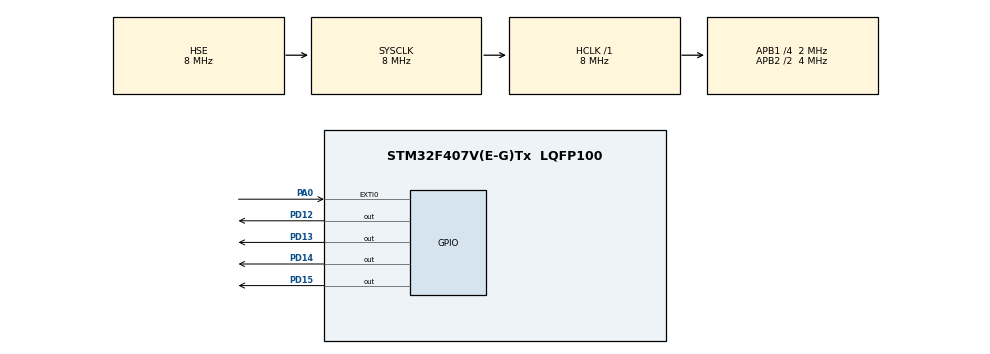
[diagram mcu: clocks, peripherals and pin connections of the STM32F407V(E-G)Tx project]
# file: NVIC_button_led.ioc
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Mcu.Family=STM32F4
Mcu.Name=STM32F407V(E-G)Tx
Mcu.Package=LQFP100
NVIC.EXTI0_IRQn=true\:0\:0\:false\:false\:true\:true\:true\:true
NVIC.PriorityGroup=NVIC_PRIORITYGROUP_0
PA0-WKUP.GPIO_ModeDefaultEXTI=GPIO_MODE_IT_FALLING
PA0-WKUP.Signal=GPXTI0
PD12.Signal=GPIO_Output
PD13.Signal=GPIO_Output
PD14.Signal=GPIO_Output
PD15.Signal=GPIO_Output
PH0-OSC_IN.Mode=HSE-External-Clock-Source
PH0-OSC_IN.Signal=RCC_OSC_IN
PH1-OSC_OUT.Mode=HSE-External-Clock-Source
PH1-OSC_OUT.Signal=RCC_OSC_OUT
ProjectManager.HeapSize=0x200
ProjectManager.StackSize=0x400
ProjectManager.TargetToolchain=STM32CubeIDE
RCC.48MHZClocksFreq_Value=7142857.142857143
RCC.AHBFreq_Value=8000000
RCC.APB1CLKDivider=RCC_HCLK_DIV4
RCC.APB1Freq_Value=2000000
RCC.APB1TimFreq_Value=4000000
RCC.APB2CLKDivider=RCC_HCLK_DIV2
RCC.APB2Freq_Value=4000000
RCC.APB2TimFreq_Value=8000000
RCC.CortexFreq_Value=8000000
RCC.HCLKFreq_Value=8000000
RCC.HSE_VALUE=8000000
RCC.HSI_VALUE=16000000
RCC.LSE_VALUE=32768
RCC.PLLM=8
RCC.PLLN=50
RCC.PLLP=RCC_PLLP_DIV4
RCC.PLLQ=7
RCC.PLLSourceVirtual=RCC_PLLSOURCE_HSE
RCC.SYSCLKFreq_VALUE=8000000
RCC.SYSCLKSource=RCC_SYSCLKSOURCE_HSE
RCC.VCOOutputFreq_Value=50000000
board=STM32F407G-DISC1

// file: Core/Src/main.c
/* USER CODE BEGIN Header */
/**
  ******************************************************************************
  * @file           : main.c
  * @brief          : Main program body
  ******************************************************************************
  * @attention
  *
  * Copyright (c) 2023 STMicroelectronics.
  * All rights reserved.
  *
  * This software is licensed under terms that can be found in the LICENSE file
  * in the root directory of this software component.
  * If no LICENSE file comes with this software, it is provided AS-IS.
  *
  ******************************************************************************
  */
/* USER CODE END Header */
#include "main.h"

/* USER CODE BEGIN PV */
uint8_t mode=0;
/* USER CODE END PV */

void SystemClock_Config(void);
static void MX_GPIO_Init(void);
/* USER CODE BEGIN PFP */
void HAL_GPIO_EXTI_Callback(uint16_t GPIO_Pin)
		{
	mode = mode+1;
	if (mode>7)
		mode=0;
		}
/* USER CODE END PFP */

int main(void)
{

  /* MCU Configuration--------------------------------------------------------*/

  /* Reset of all peripherals, Initializes the Flash interface and the Systick. */
  HAL_Init();

  /* Configure the system clock */
  SystemClock_Config();

  /* Initialize all configured peripherals */
  MX_GPIO_Init();

  /* Infinite loop */
  /* USER CODE BEGIN WHILE */
  while (1)
  {

	  if(mode==0)
	  {
	  HAL_GPIO_WritePin(GPIOD, GPIO_PIN_15, GPIO_PIN_RESET);
	  HAL_GPIO_WritePin(GPIOD, GPIO_PIN_14, GPIO_PIN_RESET);
	  HAL_GPIO_WritePin(GPIOD, GPIO_PIN_13, GPIO_PIN_RESET);
	  HAL_GPIO_WritePin(GPIOD, GPIO_PIN_12, GPIO_PIN_RESET);
	  }
	  if(mode==1)
	  {
	  HAL_GPIO_WritePin(GPIOD, GPIO_PIN_15, GPIO_PIN_SET);
	  HAL_Delay(600);
	  HAL_GPIO_WritePin(GPIOD, GPIO_PIN_15, GPIO_PIN_RESET);
	  HAL_Delay(300);
	  }
	  if(mode==2)
	  {
	  HAL_GPIO_WritePin(GPIOD,GPIO_PIN_14,GPIO_PIN_SET);
	  HAL_GPIO_WritePin(GPIOD, GPIO_PIN_15, GPIO_PIN_SET);
	  HAL_Delay(600);
	  HAL_GPIO_WritePin(GPIOD,GPIO_PIN_14,GPIO_PIN_RESET);
	  HAL_GPIO_WritePin(GPIOD, GPIO_PIN_15, GPIO_PIN_RESET);
	  HAL_Delay(300);
	  }
	  	if(mode==3)
	  	{
	  	HAL_GPIO_WritePin(GPIOD,GPIO_PIN_14,GPIO_PIN_SET);
	    HAL_GPIO_WritePin(GPIOD, GPIO_PIN_15, GPIO_PIN_SET);
	    HAL_GPIO_WritePin(GPIOD, GPIO_PIN_13, GPIO_PIN_SET);
	  	HAL_Delay(600);
	  	HAL_GPIO_WritePin(GPIOD,GPIO_PIN_14,GPIO_PIN_RESET);
	  	HAL_GPIO_WritePin(GPIOD, GPIO_PIN_15, GPIO_PIN_RESET);
	  	HAL_GPIO_WritePin(GPIOD, GPIO_PIN_13, GPIO_PIN_RESET);
	  	HAL_Delay(300);
	  	}

	  	if(mode==4)
	  	{
	  	HAL_GPIO_WritePin(GPIOD,GPIO_PIN_14,GPIO_PIN_SET);
	  	HAL_GPIO_WritePin(GPIOD, GPIO_PIN_15, GPIO_PIN_SET);
	  	HAL_GPIO_WritePin(GPIOD, GPIO_PIN_13, GPIO_PIN_SET);
	  	HAL_GPIO_WritePin(GPIOD, GPIO_PIN_12, GPIO_PIN_SET);
	  	HAL_Delay(600);
	  	HAL_GPIO_WritePin(GPIOD,GPIO_PIN_14,GPIO_PIN_RESET);
	  	HAL_GPIO_WritePin(GPIOD, GPIO_PIN_15, GPIO_PIN_RESET);
	  	HAL_GPIO_WritePin(GPIOD, GPIO_PIN_13, GPIO_PIN_RESET);
	  	HAL_GPIO_WritePin(GPIOD, GPIO_PIN_12, GPIO_PIN_RESET);
	  	HAL_Delay(300);
	  	}

	  	if(mode==5)

	  	{
	  	HAL_GPIO_WritePin(GPIOD,GPIO_PIN_14,GPIO_PIN_SET);
	  	HAL_GPIO_WritePin(GPIOD, GPIO_PIN_15, GPIO_PIN_SET);
	  	HAL_GPIO_WritePin(GPIOD, GPIO_PIN_13, GPIO_PIN_SET);
	  	HAL_GPIO_WritePin(GPIOD, GPIO_PIN_12, GPIO_PIN_SET);
	  	HAL_Delay(100);
	  	HAL_GPIO_WritePin(GPIOD,GPIO_PIN_14,GPIO_PIN_RESET);
	  	HAL_GPIO_WritePin(GPIOD, GPIO_PIN_15, GPIO_PIN_RESET);
	  	HAL_GPIO_WritePin(GPIOD, GPIO_PIN_13, GPIO_PIN_RESET);
	    HAL_GPIO_WritePin(GPIOD, GPIO_PIN_12, GPIO_PIN_RESET);
	    HAL_Delay(100);
	  	}

	  	if(mode==6)
        {
	  	HAL_GPIO_WritePin(GPIOD,GPIO_PIN_14,GPIO_PIN_SET);
	  	HAL_GPIO_WritePin(GPIOD, GPIO_PIN_15, GPIO_PIN_SET);
	  	HAL_GPIO_WritePin(GPIOD, GPIO_PIN_13, GPIO_PIN_SET);
	  	HAL_GPIO_WritePin(GPIOD, GPIO_PIN_12, GPIO_PIN_SET);
	    HAL_Delay(2000);
	    HAL_GPIO_WritePin(GPIOD,GPIO_PIN_14,GPIO_PIN_RESET);
	    HAL_GPIO_WritePin(GPIOD, GPIO_PIN_15, GPIO_PIN_RESET);
	    HAL_GPIO_WritePin(GPIOD, GPIO_PIN_13, GPIO_PIN_RESET);
	  	HAL_GPIO_WritePin(GPIOD, GPIO_PIN_12, GPIO_PIN_RESET);
	  	HAL_Delay(500);
	  	}

    /* USER CODE END WHILE */

  }
}

void SystemClock_Config(void)
{
  RCC_OscInitTypeDef RCC_OscInitStruct = {0};
  RCC_ClkInitTypeDef RCC_ClkInitStruct = {0};

  /** Configure the main internal regulator output voltage
  */
  __HAL_RCC_PWR_CLK_ENABLE();
  __HAL_PWR_VOLTAGESCALING_CONFIG(PWR_REGULATOR_VOLTAGE_SCALE1);

  /** Initializes the RCC Oscillators according to the specified parameters
  * in the RCC_OscInitTypeDef structure.
  */
  RCC_OscInitStruct.OscillatorType = RCC_OSCILLATORTYPE_HSE;
  RCC_OscInitStruct.HSEState = RCC_HSE_BYPASS;
  RCC_OscInitStruct.PLL.PLLState = RCC_PLL_NONE;
  if (HAL_RCC_OscConfig(&RCC_OscInitStruct) != HAL_OK)
  {
    Error_Handler();
  }

  /** Initializes the CPU, AHB and APB buses clocks
  */
  RCC_ClkInitStruct.ClockType = RCC_CLOCKTYPE_HCLK|RCC_CLOCKTYPE_SYSCLK
                              |RCC_CLOCKTYPE_PCLK1|RCC_CLOCKTYPE_PCLK2;
  RCC_ClkInitStruct.SYSCLKSource = RCC_SYSCLKSOURCE_HSE;
  RCC_ClkInitStruct.AHBCLKDivider = RCC_SYSCLK_DIV1;
  RCC_ClkInitStruct.APB1CLKDivider = RCC_HCLK_DIV4;
  RCC_ClkInitStruct.APB2CLKDivider = RCC_HCLK_DIV2;

  if (HAL_RCC_ClockConfig(&RCC_ClkInitStruct, FLASH_LATENCY_0) != HAL_OK)
  {
    Error_Handler();
  }
}

static void MX_GPIO_Init(void)
{
  GPIO_InitTypeDef GPIO_InitStruct = {0};

  /* GPIO Ports Clock Enable */
  __HAL_RCC_GPIOH_CLK_ENABLE();
  __HAL_RCC_GPIOA_CLK_ENABLE();
  __HAL_RCC_GPIOD_CLK_ENABLE();

  /*Configure GPIO pin Output Level */
  HAL_GPIO_WritePin(GPIOD, GPIO_PIN_12|GPIO_PIN_13|GPIO_PIN_14|GPIO_PIN_15, GPIO_PIN_RESET);

  /*Configure GPIO pin : PA0 */
  GPIO_InitStruct.Pin = GPIO_PIN_0;
  GPIO_InitStruct.Mode = GPIO_MODE_IT_FALLING;
  GPIO_InitStruct.Pull = GPIO_NOPULL;
  HAL_GPIO_Init(GPIOA, &GPIO_InitStruct);

  /*Configure GPIO pins : PD12 PD13 PD14 PD15 */
  GPIO_InitStruct.Pin = GPIO_PIN_12|GPIO_PIN_13|GPIO_PIN_14|GPIO_PIN_15;
  GPIO_InitStruct.Mode = GPIO_MODE_OUTPUT_PP;
  GPIO_InitStruct.Pull = GPIO_NOPULL;
  GPIO_InitStruct.Speed = GPIO_SPEED_FREQ_LOW;
  HAL_GPIO_Init(GPIOD, &GPIO_InitStruct);

  /* EXTI interrupt init*/
  HAL_NVIC_SetPriority(EXTI0_IRQn, 0, 0);
  HAL_NVIC_EnableIRQ(EXTI0_IRQn);

}

void Error_Handler(void)
{
  __disable_irq();
  while (1)
  {
  }
}
